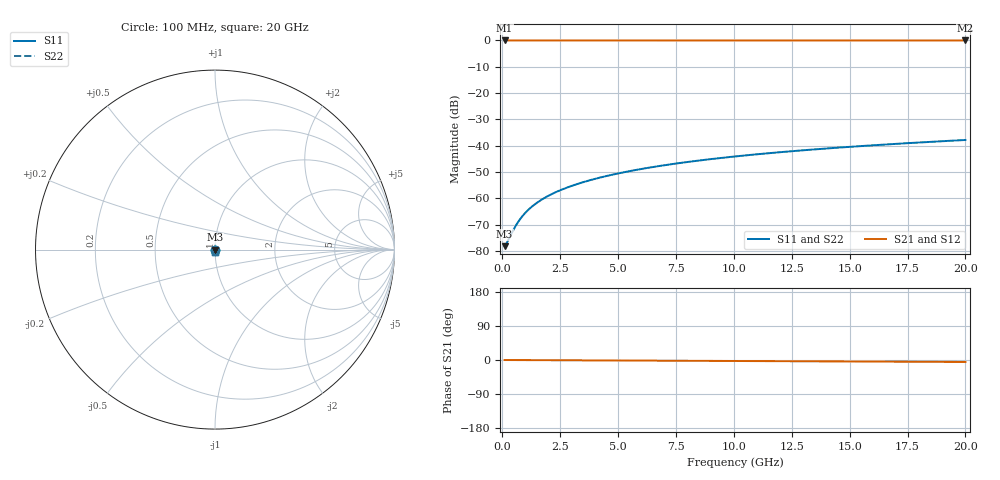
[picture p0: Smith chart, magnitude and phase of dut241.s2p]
! Touchstone file exported from HFSS 2026.1.0
!  File:  C:/ffzhzh/LocalFiles/Ansys_Project_Files/temp_train_TSV_241_1782992625_45328.aedt
!  Generated:  07:45:05 PM Jul  2, 2026
!  Design:  TSV
!  Project:  temp_train_TSV_241_1782992625_45328
! Variables:
!  h_bsmrdl = 2um
!  h_ox = 20um
!  h_rdl = 5um
!  h_sub = 51.29um
!  h_tmrdl = 5um
!  h_tsv = 51.29um
!  h_via = 3um
!  l_bsmrdl = 300um
!  l_sub = 417.06um
!  l_tmrdl = 200um
!  m_sub = 200um
!  pitch = 29.79um
!  r_tsv = 8.53um
!  s_tmrdl = 10um
!  w_bsmrdl = 18um
!  w_sub = 500um
!  w_tmrdl = 12um
!  x_tsv_center1 = 206um
!  x_tsv_center2 = 524um
!  x_tsv_center3 = 736um
!  x_tsv_center4 = 1054um
!  x_tsv_center5 = 1266um
!  x_tsv_center6 = 1584um
# GHz S MA R 50.000000
! Terminal data exported
! Port[1] = TSV1_1_T1
! Port[2] = TSV1_1_T2
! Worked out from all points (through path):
!   200 points, 100 MHz to 20 GHz, reference 50 ohm
!   highest |S21| = 0.00 dB at 100 MHz (marker M1); lowest = 0.0 dB at 20 GHz (marker M2)
!   lowest |S11| = -78.1 dB at 100 MHz (marker M3), VSWR 1.00, Z = 50 - j0.00282 ohm
!   |S11| at or under -10 dB: start of sweep to end of sweep
!   |S22| runs from -78.1 to -37.8 dB; largest |S21 - S12| = 2.2e-15
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0.1  0.0001242 -13.1  0.9999 -0.0  0.9999 -0.0  0.0001242 -13.1
! Gamma 0 0 0 0
! Port Impedance 50 0 50 0
0.2  0.0001449 -24.2  0.9999 -0.1  0.9999 -0.1  0.0001449 -24.2
0.5  0.0002629 -44.7  0.9998 -0.1  0.9998 -0.1  0.0002629 -44.7
0.7  0.000367 -52.6  0.9998 -0.2  0.9998 -0.2  0.000367 -52.6
0.8  0.0004224 -55.7  0.9998 -0.2  0.9998 -0.2  0.0004224 -55.7
1  0.0005369 -60.5  0.9997 -0.3  0.9997 -0.3  0.0005369 -60.5
1.3  0.0007128 -65.7  0.9997 -0.3  0.9997 -0.3  0.0007128 -65.7
1.5  0.0008312 -68.2  0.9997 -0.4  0.9997 -0.4  0.0008312 -68.2
1.7  0.0009502 -70.2  0.9997 -0.5  0.9997 -0.5  0.0009502 -70.2
2.2  0.00125 -73.7  0.9996 -0.6  0.9996 -0.6  0.00125 -73.7
2.8  0.001613 -76.4  0.9996 -0.7  0.9996 -0.7  0.001613 -76.4
3.5  0.002043 -78.4  0.9996 -0.9  0.9996 -0.9  0.002043 -78.4
4.2  0.00248 -79.8  0.9995 -1.1  0.9995 -1.1  0.00248 -79.8
5  0.002987 -81.1  0.9995 -1.3  0.9995 -1.3  0.002987 -81.1
5.9  0.003564 -82.2  0.9994 -1.6  0.9994 -1.6  0.003564 -82.2
6.8  0.004146 -83.1  0.9994 -1.8  0.9994 -1.8  0.004146 -83.1
8.3  0.005126 -84.4  0.9993 -2.2  0.9993 -2.2  0.005126 -84.4
10.1  0.006309 -85.7  0.9992 -2.6  0.9992 -2.6  0.006309 -85.7
11.7  0.007365 -86.7  0.9992 -3.1  0.9992 -3.1  0.007365 -86.7
13.4  0.00849 -87.6  0.9991 -3.5  0.9991 -3.5  0.00849 -87.6
16.7  0.01068 -89.1  0.999 -4.4  0.999 -4.4  0.01068 -89.1
20  0.01289 -90.4  0.9988 -5.2  0.9988 -5.2  0.01289 -90.4
